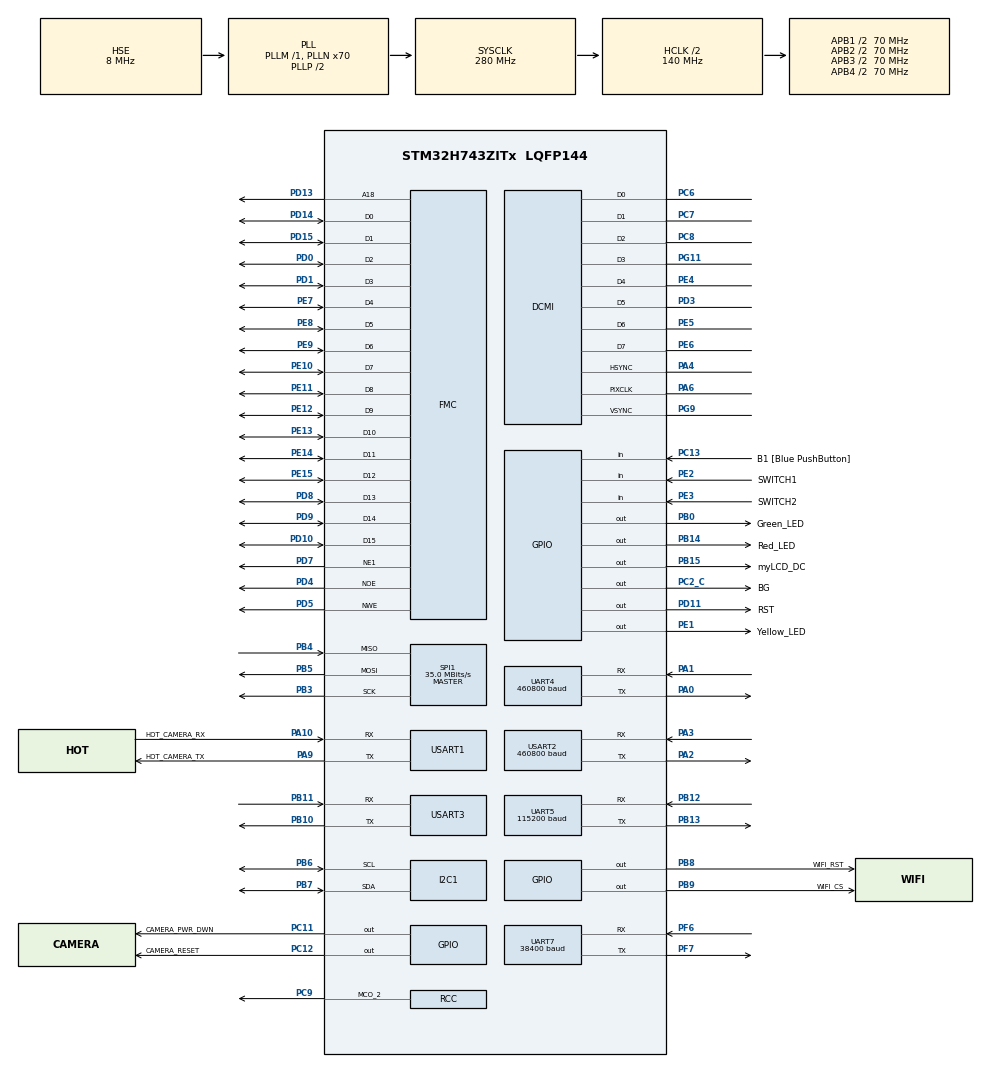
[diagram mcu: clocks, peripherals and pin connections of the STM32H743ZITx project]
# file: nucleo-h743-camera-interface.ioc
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CORTEX_M7.AccessPermission-Cortex_Memory_Protection_Unit_Region0_Settings=MPU_REGION_FULL_ACCESS
CORTEX_M7.BaseAddress-Cortex_Memory_Protection_Unit_Region0_Settings=0x60000000
CORTEX_M7.CPU_DCache=Disabled
CORTEX_M7.CPU_ICache=Enabled
CORTEX_M7.Enable-Cortex_Memory_Protection_Unit_Region0_Settings=MPU_REGION_ENABLE
CORTEX_M7.IsBufferable-Cortex_Memory_Protection_Unit_Region0_Settings=MPU_ACCESS_BUFFERABLE
CORTEX_M7.MPU_Control=MPU_PRIVILEGED_DEFAULT
CORTEX_M7.Size-Cortex_Memory_Protection_Unit_Region0_Settings=MPU_REGION_SIZE_256MB
DCMI.ByteSelectMode=DCMI_BSM_ALL
DCMI.HSPolarity=DCMI_HSPOLARITY_LOW
DCMI.PCKPolarity=DCMI_PCKPOLARITY_RISING
DCMI.VSPolarity=DCMI_VSPOLARITY_HIGH
Dma.DCMI.0.Direction=DMA_PERIPH_TO_MEMORY
Dma.DCMI.0.EventEnable=DISABLE
Dma.DCMI.0.FIFOMode=DMA_FIFOMODE_DISABLE
Dma.DCMI.0.Instance=DMA1_Stream1
Dma.DCMI.0.MemDataAlignment=DMA_MDATAALIGN_WORD
Dma.DCMI.0.MemInc=DMA_MINC_ENABLE
Dma.DCMI.0.Mode=DMA_CIRCULAR
Dma.DCMI.0.PeriphDataAlignment=DMA_PDATAALIGN_WORD
Dma.DCMI.0.PeriphInc=DMA_PINC_DISABLE
Dma.DCMI.0.Polarity=HAL_DMAMUX_REQ_GEN_RISING
Dma.DCMI.0.Priority=DMA_PRIORITY_MEDIUM
Dma.DCMI.0.RequestNumber=1
Dma.DCMI.0.SignalID=NONE
Dma.DCMI.0.SyncEnable=DISABLE
Dma.DCMI.0.SyncPolarity=HAL_DMAMUX_SYNC_NO_EVENT
Dma.DCMI.0.SyncRequestNumber=1
Dma.DCMI.0.SyncSignalID=NONE
Dma.Request0=DCMI
FMC.AddressSetupTime1=9
FMC.DataSetupTime1=12
I2C1.Timing=0xC010151E
Mcu.Family=STM32H7
Mcu.Name=STM32H743ZITx
Mcu.Package=LQFP144
NVIC.DCMI_IRQn=true\:0\:0\:false\:false\:true\:true\:true
NVIC.DMA1_Stream1_IRQn=true\:0\:0\:false\:false\:true\:false\:true
NVIC.PriorityGroup=NVIC_PRIORITYGROUP_4
NVIC.UART4_IRQn=true\:0\:0\:false\:false\:true\:true\:true
NVIC.UART7_IRQn=true\:0\:0\:false\:false\:true\:true\:true
NVIC.USART1_IRQn=true\:0\:0\:false\:false\:true\:true\:true
NVIC.USART2_IRQn=true\:0\:0\:false\:false\:true\:true\:true
PA0.GPIO_Speed=GPIO_SPEED_FREQ_VERY_HIGH
PA0.Mode=Asynchronous
PA0.Signal=UART4_TX
PA1.GPIO_Speed=GPIO_SPEED_FREQ_VERY_HIGH
PA1.Mode=Asynchronous
PA1.Signal=UART4_RX
PA10.GPIO_Label=HOT_CAMERA_RX
PA10.Mode=Asynchronous
PA10.Signal=USART1_RX
PA2.Mode=Asynchronous
PA2.Signal=USART2_TX
PA3.Mode=Asynchronous
PA3.Signal=USART2_RX
PA4.Mode=Slave_8_bits_External_Synchro
PA4.Signal=DCMI_HSYNC
PA6.Mode=Slave_8_bits_External_Synchro
PA6.Signal=DCMI_PIXCLK
PA9.GPIO_Label=HOT_CAMERA_TX
PA9.Mode=Asynchronous
PA9.Signal=USART1_TX
PB0.GPIO_Label=Green_LED
PB0.Signal=GPIO_Output
PB10.Mode=Asynchronous
PB10.Signal=USART3_TX
PB11.Mode=Asynchronous
PB11.Signal=USART3_RX
PB12.Mode=Asynchronous
PB12.Signal=UART5_RX
PB13.Mode=Asynchronous
PB13.Signal=UART5_TX
PB14.GPIO_Label=Red_LED
PB14.Signal=GPIO_Output
PB15.GPIO_Label=myLCD_DC
PB15.Signal=GPIO_Output
PB3\ (JTDO/TRACESWO).Mode=Full_Duplex_Master
PB3\ (JTDO/TRACESWO).Signal=SPI1_SCK
PB4\ (NJTRST).Mode=Full_Duplex_Master
PB4\ (NJTRST).Signal=SPI1_MISO
PB5.Mode=Full_Duplex_Master
PB5.Signal=SPI1_MOSI
PB6.GPIO_PuPd=GPIO_PULLUP
PB6.Mode=I2C
PB6.Signal=I2C1_SCL
PB7.GPIO_PuPd=GPIO_PULLUP
PB7.Mode=I2C
PB7.Signal=I2C1_SDA
PB8.GPIO_Label=WIFI_RST
PB8.GPIO_Speed=GPIO_SPEED_FREQ_VERY_HIGH
PB8.Signal=GPIO_Output
PB9.GPIO_Label=WIFI_CS
PB9.Signal=GPIO_Output
PC11.GPIO_Label=CAMERA_PWR_DWN
PC11.Signal=GPIO_Output
PC12.GPIO_Label=CAMERA_RESET
PC12.PinState=GPIO_PIN_SET
PC12.Signal=GPIO_Output
PC13.GPIO_Label=B1 [Blue PushButton]
PC13.GPIO_PuPd=GPIO_NOPULL
PC13.Signal=GPIO_Input
PC2_C.GPIO_Label=BG
PC2_C.Signal=GPIO_Output
PC6.Mode=Slave_8_bits_External_Synchro
PC6.Signal=DCMI_D0
PC7.Mode=Slave_8_bits_External_Synchro
PC7.Signal=DCMI_D1
PC8.Mode=Slave_8_bits_External_Synchro
PC8.Signal=DCMI_D2
PC9.Mode=Clock-out-2
PC9.Signal=RCC_MCO_2
PD0.Signal=FMC_D2_DA2
PD1.Signal=FMC_D3_DA3
PD10.Signal=FMC_D15_DA15
PD11.GPIO_Label=RST
PD11.Signal=GPIO_Output
PD13.Signal=FMC_A18
PD14.Signal=FMC_D0_DA0
PD15.Signal=FMC_D1_DA1
PD3.Mode=Slave_8_bits_External_Synchro
PD3.Signal=DCMI_D5
PD4.Signal=FMC_NOE
PD5.Signal=FMC_NWE
PD7.Mode=NorPsramChipSelect1_1
PD7.Signal=FMC_NE1
PD8.Signal=FMC_D13_DA13
PD9.Signal=FMC_D14_DA14
PE1.GPIO_Label=Yellow_LED
PE1.Signal=GPIO_Output
PE10.Signal=FMC_D7_DA7
PE11.Signal=FMC_D8_DA8
PE12.Signal=FMC_D9_DA9
PE13.Signal=FMC_D10_DA10
PE14.Signal=FMC_D11_DA11
PE15.Signal=FMC_D12_DA12
PE2.GPIO_Label=SWITCH1
PE2.GPIO_PuPd=GPIO_PULLUP
PE2.Signal=GPIO_Input
PE3.GPIO_Label=SWITCH2
PE3.GPIO_PuPd=GPIO_PULLUP
PE3.Signal=GPIO_Input
PE4.Mode=Slave_8_bits_External_Synchro
PE4.Signal=DCMI_D4
PE5.Mode=Slave_8_bits_External_Synchro
PE5.Signal=DCMI_D6
PE6.Mode=Slave_8_bits_External_Synchro
PE6.Signal=DCMI_D7
PE7.Signal=FMC_D4_DA4
PE8.Signal=FMC_D5_DA5
PE9.Signal=FMC_D6_DA6
PF6.Mode=Asynchronous
PF6.Signal=UART7_RX
PF7.Mode=Asynchronous
PF7.Signal=UART7_TX
PG11.Mode=Slave_8_bits_External_Synchro
PG11.Signal=DCMI_D3
PG9.Mode=Slave_8_bits_External_Synchro
PG9.Signal=DCMI_VSYNC
PH0-OSC_IN\ (PH0).Mode=HSE-External-Clock-Source
PH0-OSC_IN\ (PH0).Signal=RCC_OSC_IN
PH1-OSC_OUT\ (PH1).Signal=RCC_OSC_OUT
ProjectManager.HeapSize=0x200
ProjectManager.StackSize=0x400
ProjectManager.TargetToolchain=STM32CubeIDE
RCC.ADCFreq_Value=50666666.666666664
RCC.APB1Freq_Value=70000000
RCC.APB2Freq_Value=70000000
RCC.APB3Freq_Value=70000000
RCC.APB4Freq_Value=70000000
RCC.CortexFreq_Value=280000000
RCC.D1PPRE=RCC_APB3_DIV2
RCC.D2PPRE1=RCC_APB1_DIV2
RCC.D2PPRE2=RCC_APB2_DIV2
RCC.D3PPRE=RCC_APB4_DIV2
RCC.DIVM1=1
RCC.DIVM2=1
RCC.DIVN1=70
RCC.DIVN2=19
RCC.DIVP2=3
RCC.HCLKFreq_Value=140000000
RCC.HPRE=RCC_HCLK_DIV2
RCC.HSE_VALUE=8000000
RCC.PLL2FRACN=0
RCC.PLL3FRACN=0
RCC.PLLFRACN=0
RCC.PLLSourceVirtual=RCC_PLLSOURCE_HSE
RCC.RCC_MCODiv2=RCC_MCODIV_8
RCC.SYSCLKFreq_VALUE=280000000
RCC.SYSCLKSource=RCC_SYSCLKSOURCE_PLLCLK
RCC.USBFreq_Value=280000000
SH.FMC_A18.0=FMC_A18,A18_1
SH.FMC_D0_DA0.0=FMC_D0,16b-d1
SH.FMC_D10_DA10.0=FMC_D10,16b-d1
SH.FMC_D11_DA11.0=FMC_D11,16b-d1
SH.FMC_D12_DA12.0=FMC_D12,16b-d1
SH.FMC_D13_DA13.0=FMC_D13,16b-d1
SH.FMC_D14_DA14.0=FMC_D14,16b-d1
SH.FMC_D15_DA15.0=FMC_D15,16b-d1
SH.FMC_D1_DA1.0=FMC_D1,16b-d1
SH.FMC_D2_DA2.0=FMC_D2,16b-d1
SH.FMC_D3_DA3.0=FMC_D3,16b-d1
SH.FMC_D4_DA4.0=FMC_D4,16b-d1
SH.FMC_D5_DA5.0=FMC_D5,16b-d1
SH.FMC_D6_DA6.0=FMC_D6,16b-d1
SH.FMC_D7_DA7.0=FMC_D7,16b-d1
SH.FMC_D8_DA8.0=FMC_D8,16b-d1
SH.FMC_D9_DA9.0=FMC_D9,16b-d1
SH.FMC_NOE.0=FMC_NOE,Lcd1
SH.FMC_NWE.0=FMC_NWE,Lcd1
SPI1.BaudRatePrescaler=SPI_BAUDRATEPRESCALER_8
SPI1.CalculateBaudRate=35.0 MBits/s
SPI1.DataSize=SPI_DATASIZE_8BIT
SPI1.Direction=SPI_DIRECTION_2LINES
SPI1.Mode=SPI_MODE_MASTER
SPI1.VirtualType=VM_MASTER
TIM2.Period=1
TIM2.Prescaler=20
UART4.BaudRate=460800
UART5.BaudRate=115200
UART7.BaudRate=38400
USART1.VirtualMode-Asynchronous=VM_ASYNC
USART2.BaudRate=460800
USART2.VirtualMode-Asynchronous=VM_ASYNC
USART3.VirtualMode-Asynchronous=VM_ASYNC
VP_TIM2_VS_ClockSourceINT.Mode=Internal
board=NUCLEO-H743ZI2

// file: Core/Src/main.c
/* USER CODE BEGIN Header */
/**
  ******************************************************************************
  * @file           : main.c
  * @brief          : Main program body
  ******************************************************************************
  * @attention
  *
  * Author: Enrique Phan
  * Date :	2020/09/20
  * Github: PHANzgz
  *
  ******************************************************************************
  */
/* USER CODE END Header */
#include "main.h"

/* USER CODE BEGIN Includes */
#include <stdio.h>
#include <string.h>
#include <stdlib.h>
#include <math.h>
#include "../../Drivers/OV7670/OV7670.h"
#include "LCD.h"
#include "fonts.h"
#include "hot_camera.h"
#include "GPS.h"
#include <time.h>
/* USER CODE END Includes */

/* USER CODE BEGIN PD */
#define USE_GRAYSCALE 1
#define RX_BUF_MAXLEN 1000

/* USER CODE END PD */

DCMI_HandleTypeDef hdcmi;
DMA_HandleTypeDef hdma_dcmi;

I2C_HandleTypeDef hi2c1;

SPI_HandleTypeDef hspi1;

TIM_HandleTypeDef htim2;

UART_HandleTypeDef huart4;
UART_HandleTypeDef huart5;
UART_HandleTypeDef huart7;
UART_HandleTypeDef huart1;
UART_HandleTypeDef huart2;
UART_HandleTypeDef huart3;

SRAM_HandleTypeDef hsram1;

/* USER CODE BEGIN PV */
#if USE_GRAYSCALE
uint32_t frame_buffer[OV7670_QVGA_WIDTH * OV7670_QVGA_HEIGHT/2];
#else
uint32_t frame_buffer[OV7670_QVGA_WIDTH * OV7670_QVGA_HEIGHT/2];
#endif
uint8_t new_capture = 0;

uint8_t hot_buffer[7];	//中断缓冲
uint8_t T[8]; //温度
uint8_t wifi_rec[1];
uint8_t tem[8];
uint8_t count_send_gps_time=0;

int total_people=0;

uint8_t rdata[1];
uint8_t rdata1[1];
uint16_t point=0;
uint16_t hot_point=0;
uint8_t ifOneline=false;
uint8_t USART_RX_BUF[RX_BUF_MAXLEN];
GPS_Data GPSData;
int num=0;
//默认地址
uint8_t latitude[latitude_Length]="3888.8519";
uint8_t longitude[longitude_Length]="12153.6728";

/* USER CODE END PV */

void SystemClock_Config(void);
static void MPU_Config(void);
static void MX_GPIO_Init(void);
static void MX_DMA_Init(void);
static void MX_DCMI_Init(void);
static void MX_TIM2_Init(void);
static void MX_I2C1_Init(void);
static void MX_SPI1_Init(void);
static void MX_FMC_Init(void);
static void MX_USART1_UART_Init(void);
static void MX_UART4_Init(void);
static void MX_UART5_Init(void);
static void MX_UART7_Init(void);
static void MX_USART3_UART_Init(void);
static void MX_USART2_UART_Init(void);
/* USER CODE BEGIN PFP */
static void onFrameCallback();
//void get_t();
/* USER CODE END PFP */

int main(void)
{
  /* USER CODE BEGIN 1 */
	tem[0]=0xEE;
	tem[1]=0xE1;
	tem[2]=0x01;
	tem[3]=0x55;
	tem[4]=0xFF;
	tem[5]=0xFC;
	tem[6]=0xFD;
	tem[7]=0xFF;
  /* USER CODE END 1 */

  /* MPU Configuration--------------------------------------------------------*/
  MPU_Config();

  /* Enable I-Cache---------------------------------------------------------*/
  SCB_EnableICache();

  /* MCU Configuration--------------------------------------------------------*/

  /* Reset of all peripherals, Initializes the Flash interface and the Systick. */
  HAL_Init();

  /* Configure the system clock */
  SystemClock_Config();

  /* Initialize all configured peripherals */
  MX_GPIO_Init();
  MX_DMA_Init();
  MX_DCMI_Init();
  MX_TIM2_Init();
  MX_I2C1_Init();
  MX_SPI1_Init();
  MX_FMC_Init();
  MX_USART1_UART_Init();
  MX_UART4_Init();
  MX_UART5_Init();
  MX_UART7_Init();
  MX_USART3_UART_Init();
  MX_USART2_UART_Init();
  /* USER CODE BEGIN 2 */
  HAL_UART_Init(&huart4);
  HAL_UART_Init(&huart1);
  HAL_UART_Init(&huart7);
  HAL_UART_Init(&huart2);
  HAL_GPIO_WritePin(CAMERA_PWR_DWN_GPIO_Port, CAMERA_PWR_DWN_Pin, GPIO_PIN_RESET); // Turn on camera
  ov7670_init(&hdcmi, &hdma_dcmi, &hi2c1);

#if USE_GRAYSCALE
  ov7670_config(OV7670_MODE_QVGA_YUV);
#else
  ov7670_config(OV7670_MODE_QVGA_RGB565);
#endif
  ov7670_registerCallback(NULL, NULL, &onFrameCallback);
  lcd_init();
  ILI9341_GramScan(3);
  ILI9341_Clear(0, 0, 320,240 , WHITE);
  ILI9341_DispStringLine_EN(LINE(120),"        Bus system based on stm32");
  HAL_Delay(1000);
  LCD_ClearLine(LINE(0));
  HAL_UART_Receive_IT(&huart7, rdata, 1);
  HAL_UART_Receive_IT(&huart2, wifi_rec, 1);
  HAL_UART_Receive_IT(&huart1, hot_buffer, 7);
  /* USER CODE END 2 */

  /* Infinite loop */
  /* USER CODE BEGIN WHILE */
  while (1)
  {

//	HAL_UART_Transmit(&huart1, &tem, 8, 100);
//	HAL_UART_Receive_IT(&huart1, hot_buffer, 1);
	  int a=1;
	  //lcd_auto_clear(500);
#if USE_GRAYSCALE
	  // DCMI setting "Byte select" must be "capture every other byte to ignore Cb or Cr data"
	  // DCMI setting "Byte select start" must be "Interface captures second data"
	  if (new_capture){
		  LCD_ImgShow_gray((unsigned char*) frame_buffer);
		  if (HAL_GPIO_ReadPin(SWITCH2_GPIO_Port, SWITCH2_Pin)==0){
			  total_people++;
			  HAL_Delay(1000);
			  char mark[5]="IMG$";
			  char mark2[10]="$IMGEND";
			  HAL_UART_Init(&huart4);
			  HAL_UART_Transmit(&huart4, &mark,5, 100);
			  uint32_t tem_data[OV7670_QVGA_WIDTH * OV7670_QVGA_HEIGHT/2];
			  for(int i=0;i<OV7670_QVGA_WIDTH * OV7670_QVGA_HEIGHT/2;i++){
				  tem_data[i]=frame_buffer[i];
			  }
			  grey_transmit((uint8_t*)tem_data);
			  HAL_Delay(1000);
			  HAL_UART_Transmit(&huart4, &mark2, 10, 1000);
			  uint8_t *rec=(char*)malloc(sizeof(char));
//			  while(HAL_UART_Receive(&huart2, rec, 1,100)!=HAL_OK);
//			  HAL_UART_Transmit(&huart4, rec, 1,100);
			  char name[5];
			  int find=1;
			  if(wifi_rec[0]=='1')
				  strcpy(name,"mym");
			  else if(wifi_rec[0]=='2')
				  strcpy(name,"dxc");
			  else if(wifi_rec[0]=='3')
				  strcpy(name,"zjj");
			  else
				  find=0;
			  free(rec);
			  if(find){
				  char showline[100]="             Welcome ";
				  strcat(showline,name);
				  ILI9341_Clear(0, 200, 320,240 , WHITE);
				  ILI9341_DispStringLine_EN(LINE(13),showline);
	//				  hot_camera_init(huart1);
	//				  HAL_UART_Receive_IT(&huart1, hot_buffer, 10);
	//				  HAL_Delay(1000);
	//				  HAL_UART_Transmit(&huart4, hot_data, 2055, 1000);
	//				  float high=hot_camer_get_temperature(hot_data);
//				  get_t();
				  char str[50]="           Your temperature is ";
				  strcat(str,T);
				  //HAL_UART_Transmit(&huart4, str, 50, 100);
				  ILI9341_DispStringLine_EN(LINE(14),str);
			  }else{
				  char showline[50]="             Recognize failed ";
				  ILI9341_Clear(0, 200, 320,240 , WHITE);
				  ILI9341_DispStringLine_EN(LINE(13),showline);
			  }
			  HAL_Delay(1000);
		  }
		  else if(HAL_GPIO_ReadPin(SWITCH1_GPIO_Port, SWITCH1_Pin)==0){
			if(total_people>0)
			  total_people--;
			HAL_Delay(2000);
		  }
	  }
#else
	  if (new_capture)

		  if(HAL_GPIO_ReadPin(B1_GPIO_Port, B1_Pin) == 0){
			  LCD_ImgShow((uint8_t*)frame_buffer);
			  if (HAL_GPIO_ReadPin(SWITCH2_GPIO_Port, SWITCH2_Pin)==0){
				  total_people++;
				  char mark[5]="IMG$";
				  char mark2[10]="$IMGEND";
				  HAL_UART_Init(&huart4);
				  HAL_UART_Transmit(&huart4, &mark,5, 100);
				  for(int i=0;i<OV7670_QVGA_WIDTH * OV7670_QVGA_HEIGHT/2;i++){
					HAL_UART_Transmit(&huart4, &frame_buffer[i],4, 10000);
					for(int i=0;i<30000;i++);
				  }
					HAL_Delay(1000);
				  HAL_UART_Transmit(&huart4, &mark2, 10, 1000);
				  ILI9341_Clear(0, 200, 320,240 , WHITE);
				  ILI9341_DispStringLine_EN(LINE(13),"              xxx Welcome");
//				  hot_camera_init(huart1);
//				  HAL_UART_Receive_IT(&huart1, hot_buffer, 10);
//				  HAL_Delay(1000);
//				  HAL_UART_Transmit(&huart4, hot_data, 2055, 1000);
//				  float high=hot_camer_get_temperature(hot_data);
				  char str_t[10];
 				  int high=get_t();
				  itoa(high,str_t,10);
				  char tem_c=str_t[2];
				  str_t[2]='.';
				  str_t[3]=tem_c;
				  str_t[4]='\0';
				  char str[50]="           Your temperature is ";
                  strcat(str,str_t);
				  //HAL_UART_Transmit(&huart4, str, 50, 100);
				  ILI9341_DispStringLine_EN(LINE(14),str);
				  HAL_Delay(1000);
			  }
			  else if(HAL_GPIO_ReadPin(SWITCH1_GPIO_Port, SWITCH1_Pin)==0){
				if(total_people>=0)
				  total_people--;
			  }
		  }
		  else
			  LCD_ImgShow_hot(hot_data);

#endif

	  if (HAL_GPIO_ReadPin(B1_GPIO_Port, B1_Pin) == 0){
		  //ov7670_startCap(OV7670_CAP_SINGLE_FRAME, (uint32_t)frame_buffer);
		  ov7670_startCap(OV7670_CAP_CONTINUOUS, (uint32_t)frame_buffer);
	  }
    /* USER CODE END WHILE */

    /* USER CODE BEGIN 3 */
	  uint8_t start[10]="START\n";
	  uint8_t end[10]="END\n";
	  //HAL_UART_Transmit(&huart4, start, 10, 100);
	  if(ifOneline){
		  //HAL_UART_Transmit(&huart4, &USART_RX_BUF,strlen(USART_RX_BUF),1000);
			  strcpy(GPSData.GPS_Buffer,USART_RX_BUF);
			  if(strstr(USART_RX_BUF,"GNRMC")!=NULL){
				  //HAL_UART_Transmit(&huart4, end, 10,1000);
				  transfer(USART_RX_BUF);
				  if(GPSData.isUseful){
					  HAL_GPIO_WritePin(Green_LED_GPIO_Port,Green_LED_Pin, 0);
					  if(HAL_GPIO_ReadPin(Yellow_LED_GPIO_Port, Yellow_LED_Pin)==0)
						  HAL_GPIO_WritePin(Yellow_LED_GPIO_Port, Yellow_LED_Pin,1);
				  }else{
					  HAL_GPIO_WritePin(Yellow_LED_GPIO_Port, Yellow_LED_Pin, 0);
					  if(HAL_GPIO_ReadPin(Green_LED_GPIO_Port,Green_LED_Pin)==0)
						  HAL_GPIO_WritePin(Green_LED_GPIO_Port,Green_LED_Pin,1);
				  }
				  if(num<0)
					  num=0;
				  uint8_t message[messageLength],tem[3];
				  if(num<=9){
					  tem[0]=(num+48);
					  tem[1]='\0';
				  }
				  else{
					  tem[0]=(num/10+48);
					  tem[1]=(num-num/10*10+48);
				  }
				  HAL_Delay(2);
				 // HAL_UART_Transmit(&huart4, GPSData.GPS_Buffer, sizeof(GPSData.GPS_Buffer), 100);
				  HAL_Delay(2);
				  memcpy(message,GPSData.address,sizeof(GPSData.address));
				  strcat(message,",");
				  char people_num[3];
				  itoa(total_people,people_num,10);
				  strcat(message,people_num);
				  strcat(message,",");
				  char gps_end[8]="$GPSEND";
				  strcat(message,gps_end);
				  HAL_Delay(1);
				  if(count_send_gps_time++==10){
					  HAL_UART_Transmit(&huart4, message, sizeof(message), 100);
					  count_send_gps_time=0;
				  }
				  HAL_Delay(1);
			  }
			  ifOneline=0;
			  memset(USART_RX_BUF,0,sizeof(USART_RX_BUF));
		  }
		}
  /* USER CODE END 3 */
}

void SystemClock_Config(void)
{
  RCC_OscInitTypeDef RCC_OscInitStruct = {0};
  RCC_ClkInitTypeDef RCC_ClkInitStruct = {0};
  RCC_PeriphCLKInitTypeDef PeriphClkInitStruct = {0};

  /** Supply configuration update enable
  */
  HAL_PWREx_ConfigSupply(PWR_LDO_SUPPLY);
  /** Configure the main internal regulator output voltage
  */
  __HAL_PWR_VOLTAGESCALING_CONFIG(PWR_REGULATOR_VOLTAGE_SCALE2);

  while(!__HAL_PWR_GET_FLAG(PWR_FLAG_VOSRDY)) {}
  /** Initializes the RCC Oscillators according to the specified parameters
  * in the RCC_OscInitTypeDef structure.
  */
  RCC_OscInitStruct.OscillatorType = RCC_OSCILLATORTYPE_HSE;
  RCC_OscInitStruct.HSEState = RCC_HSE_BYPASS;
  RCC_OscInitStruct.PLL.PLLState = RCC_PLL_ON;
  RCC_OscInitStruct.PLL.PLLSource = RCC_PLLSOURCE_HSE;
  RCC_OscInitStruct.PLL.PLLM = 1;
  RCC_OscInitStruct.PLL.PLLN = 70;
  RCC_OscInitStruct.PLL.PLLP = 2;
  RCC_OscInitStruct.PLL.PLLQ = 2;
  RCC_OscInitStruct.PLL.PLLR = 2;
  RCC_OscInitStruct.PLL.PLLRGE = RCC_PLL1VCIRANGE_3;
  RCC_OscInitStruct.PLL.PLLVCOSEL = RCC_PLL1VCOWIDE;
  RCC_OscInitStruct.PLL.PLLFRACN = 0;
  if (HAL_RCC_OscConfig(&RCC_OscInitStruct) != HAL_OK)
  {
    Error_Handler();
  }
  /** Initializes the CPU, AHB and APB buses clocks
  */
  RCC_ClkInitStruct.ClockType = RCC_CLOCKTYPE_HCLK|RCC_CLOCKTYPE_SYSCLK
                              |RCC_CLOCKTYPE_PCLK1|RCC_CLOCKTYPE_PCLK2
                              |RCC_CLOCKTYPE_D3PCLK1|RCC_CLOCKTYPE_D1PCLK1;
  RCC_ClkInitStruct.SYSCLKSource = RCC_SYSCLKSOURCE_PLLCLK;
  RCC_ClkInitStruct.SYSCLKDivider = RCC_SYSCLK_DIV1;
  RCC_ClkInitStruct.AHBCLKDivider = RCC_HCLK_DIV2;
  RCC_ClkInitStruct.APB3CLKDivider = RCC_APB3_DIV2;
  RCC_ClkInitStruct.APB1CLKDivider = RCC_APB1_DIV2;
  RCC_ClkInitStruct.APB2CLKDivider = RCC_APB2_DIV2;
  RCC_ClkInitStruct.APB4CLKDivider = RCC_APB4_DIV2;

  if (HAL_RCC_ClockConfig(&RCC_ClkInitStruct, FLASH_LATENCY_1) != HAL_OK)
  {
    Error_Handler();
  }
  PeriphClkInitStruct.PeriphClockSelection = RCC_PERIPHCLK_USART3|RCC_PERIPHCLK_USART2
                              |RCC_PERIPHCLK_UART4|RCC_PERIPHCLK_UART7
                              |RCC_PERIPHCLK_USART1|RCC_PERIPHCLK_UART5
                              |RCC_PERIPHCLK_SPI1|RCC_PERIPHCLK_I2C1
                              |RCC_PERIPHCLK_FMC;
  PeriphClkInitStruct.FmcClockSelection = RCC_FMCCLKSOURCE_D1HCLK;
  PeriphClkInitStruct.Spi123ClockSelection = RCC_SPI123CLKSOURCE_PLL;
  PeriphClkInitStruct.Usart234578ClockSelection = RCC_USART234578CLKSOURCE_D2PCLK1;
  PeriphClkInitStruct.Usart16ClockSelection = RCC_USART16CLKSOURCE_D2PCLK2;
  PeriphClkInitStruct.I2c123ClockSelection = RCC_I2C123CLKSOURCE_D2PCLK1;
  if (HAL_RCCEx_PeriphCLKConfig(&PeriphClkInitStruct) != HAL_OK)
  {
    Error_Handler();
  }
  HAL_RCC_MCOConfig(RCC_MCO2, RCC_MCO2SOURCE_SYSCLK, RCC_MCODIV_8);
}

static void MX_DCMI_Init(void)
{

  hdcmi.Instance = DCMI;
  hdcmi.Init.SynchroMode = DCMI_SYNCHRO_HARDWARE;
  hdcmi.Init.PCKPolarity = DCMI_PCKPOLARITY_RISING;
  hdcmi.Init.VSPolarity = DCMI_VSPOLARITY_HIGH;
  hdcmi.Init.HSPolarity = DCMI_HSPOLARITY_LOW;
  hdcmi.Init.CaptureRate = DCMI_CR_ALL_FRAME;
  hdcmi.Init.ExtendedDataMode = DCMI_EXTEND_DATA_8B;
  hdcmi.Init.JPEGMode = DCMI_JPEG_DISABLE;
  hdcmi.Init.ByteSelectMode = DCMI_BSM_ALL;
  hdcmi.Init.ByteSelectStart = DCMI_OEBS_ODD;
  hdcmi.Init.LineSelectMode = DCMI_LSM_ALL;
  hdcmi.Init.LineSelectStart = DCMI_OELS_ODD;
  if (HAL_DCMI_Init(&hdcmi) != HAL_OK)
  {
    Error_Handler();
  }

}

static void MX_I2C1_Init(void)
{

  hi2c1.Instance = I2C1;
  hi2c1.Init.Timing = 0xC010151E;
  hi2c1.Init.OwnAddress1 = 0;
  hi2c1.Init.AddressingMode = I2C_ADDRESSINGMODE_7BIT;
  hi2c1.Init.DualAddressMode = I2C_DUALADDRESS_DISABLE;
  hi2c1.Init.OwnAddress2 = 0;
  hi2c1.Init.OwnAddress2Masks = I2C_OA2_NOMASK;
  hi2c1.Init.GeneralCallMode = I2C_GENERALCALL_DISABLE;
  hi2c1.Init.NoStretchMode = I2C_NOSTRETCH_DISABLE;
  if (HAL_I2C_Init(&hi2c1) != HAL_OK)
  {
    Error_Handler();
  }
  /** Configure Analogue filter
  */
  if (HAL_I2CEx_ConfigAnalogFilter(&hi2c1, I2C_ANALOGFILTER_ENABLE) != HAL_OK)
  {
    Error_Handler();
  }
  /** Configure Digital filter
  */
  if (HAL_I2CEx_ConfigDigitalFilter(&hi2c1, 0) != HAL_OK)
  {
    Error_Handler();
  }

}

static void MX_SPI1_Init(void)
{

  /* SPI1 parameter configuration*/
  hspi1.Instance = SPI1;
  hspi1.Init.Mode = SPI_MODE_MASTER;
  hspi1.Init.Direction = SPI_DIRECTION_2LINES;
  hspi1.Init.DataSize = SPI_DATASIZE_8BIT;
  hspi1.Init.CLKPolarity = SPI_POLARITY_LOW;
  hspi1.Init.CLKPhase = SPI_PHASE_1EDGE;
  hspi1.Init.NSS = SPI_NSS_SOFT;
  hspi1.Init.BaudRatePrescaler = SPI_BAUDRATEPRESCALER_8;
  hspi1.Init.FirstBit = SPI_FIRSTBIT_MSB;
  hspi1.Init.TIMode = SPI_TIMODE_DISABLE;
  hspi1.Init.CRCCalculation = SPI_CRCCALCULATION_DISABLE;
  hspi1.Init.CRCPolynomial = 0x0;
  hspi1.Init.NSSPMode = SPI_NSS_PULSE_ENABLE;
  hspi1.Init.NSSPolarity = SPI_NSS_POLARITY_LOW;
  hspi1.Init.FifoThreshold = SPI_FIFO_THRESHOLD_01DATA;
  hspi1.Init.TxCRCInitializationPattern = SPI_CRC_INITIALIZATION_ALL_ZERO_PATTERN;
  hspi1.Init.RxCRCInitializationPattern = SPI_CRC_INITIALIZATION_ALL_ZERO_PATTERN;
  hspi1.Init.MasterSSIdleness = SPI_MASTER_SS_IDLENESS_00CYCLE;
  hspi1.Init.MasterInterDataIdleness = SPI_MASTER_INTERDATA_IDLENESS_00CYCLE;
  hspi1.Init.MasterReceiverAutoSusp = SPI_MASTER_RX_AUTOSUSP_DISABLE;
  hspi1.Init.MasterKeepIOState = SPI_MASTER_KEEP_IO_STATE_DISABLE;
  hspi1.Init.IOSwap = SPI_IO_SWAP_DISABLE;
  if (HAL_SPI_Init(&hspi1) != HAL_OK)
  {
    Error_Handler();
  }

}

static void MX_TIM2_Init(void)
{

  TIM_ClockConfigTypeDef sClockSourceConfig = {0};
  TIM_MasterConfigTypeDef sMasterConfig = {0};

  htim2.Instance = TIM2;
  htim2.Init.Prescaler = 20;
  htim2.Init.CounterMode = TIM_COUNTERMODE_UP;
  htim2.Init.Period = 1;
  htim2.Init.ClockDivision = TIM_CLOCKDIVISION_DIV1;
  htim2.Init.AutoReloadPreload = TIM_AUTORELOAD_PRELOAD_DISABLE;
  if (HAL_TIM_Base_Init(&htim2) != HAL_OK)
  {
    Error_Handler();
  }
  sClockSourceConfig.ClockSource = TIM_CLOCKSOURCE_INTERNAL;
  if (HAL_TIM_ConfigClockSource(&htim2, &sClockSourceConfig) != HAL_OK)
  {
    Error_Handler();
  }
  sMasterConfig.MasterOutputTrigger = TIM_TRGO_RESET;
  sMasterConfig.MasterSlaveMode = TIM_MASTERSLAVEMODE_DISABLE;
  if (HAL_TIMEx_MasterConfigSynchronization(&htim2, &sMasterConfig) != HAL_OK)
  {
    Error_Handler();
  }

}

static void MX_UART4_Init(void)
{

  huart4.Instance = UART4;
  huart4.Init.BaudRate = 460800;
  huart4.Init.WordLength = UART_WORDLENGTH_8B;
  huart4.Init.StopBits = UART_STOPBITS_1;
  huart4.Init.Parity = UART_PARITY_NONE;
  huart4.Init.Mode = UART_MODE_TX_RX;
  huart4.Init.HwFlowCtl = UART_HWCONTROL_NONE;
  huart4.Init.OverSampling = UART_OVERSAMPLING_16;
  huart4.Init.OneBitSampling = UART_ONE_BIT_SAMPLE_DISABLE;
  huart4.Init.ClockPrescaler = UART_PRESCALER_DIV1;
  huart4.AdvancedInit.AdvFeatureInit = UART_ADVFEATURE_NO_INIT;
  if (HAL_UART_Init(&huart4) != HAL_OK)
  {
    Error_Handler();
  }
  if (HAL_UARTEx_SetTxFifoThreshold(&huart4, UART_TXFIFO_THRESHOLD_1_8) != HAL_OK)
  {
    Error_Handler();
  }
  if (HAL_UARTEx_SetRxFifoThreshold(&huart4, UART_RXFIFO_THRESHOLD_1_8) != HAL_OK)
  {
    Error_Handler();
  }
  if (HAL_UARTEx_DisableFifoMode(&huart4) != HAL_OK)
  {
    Error_Handler();
  }

}

static void MX_UART5_Init(void)
{

  huart5.Instance = UART5;
  huart5.Init.BaudRate = 115200;
  huart5.Init.WordLength = UART_WORDLENGTH_8B;
  huart5.Init.StopBits = UART_STOPBITS_1;
  huart5.Init.Parity = UART_PARITY_NONE;
  huart5.Init.Mode = UART_MODE_TX_RX;
  huart5.Init.HwFlowCtl = UART_HWCONTROL_NONE;
  huart5.Init.OverSampling = UART_OVERSAMPLING_16;
  huart5.Init.OneBitSampling = UART_ONE_BIT_SAMPLE_DISABLE;
  huart5.Init.ClockPrescaler = UART_PRESCALER_DIV1;
  huart5.AdvancedInit.AdvFeatureInit = UART_ADVFEATURE_NO_INIT;
  if (HAL_UART_Init(&huart5) != HAL_OK)
  {
    Error_Handler();
  }
  if (HAL_UARTEx_SetTxFifoThreshold(&huart5, UART_TXFIFO_THRESHOLD_1_8) != HAL_OK)
  {
    Error_Handler();
  }
  if (HAL_UARTEx_SetRxFifoThreshold(&huart5, UART_RXFIFO_THRESHOLD_1_8) != HAL_OK)
  {
    Error_Handler();
  }
  if (HAL_UARTEx_DisableFifoMode(&huart5) != HAL_OK)
  {
    Error_Handler();
  }

}

static void MX_UART7_Init(void)
{

  huart7.Instance = UART7;
  huart7.Init.BaudRate = 38400;
  huart7.Init.WordLength = UART_WORDLENGTH_8B;
  huart7.Init.StopBits = UART_STOPBITS_1;
  huart7.Init.Parity = UART_PARITY_NONE;
  huart7.Init.Mode = UART_MODE_TX_RX;
  huart7.Init.HwFlowCtl = UART_HWCONTROL_NONE;
  huart7.Init.OverSampling = UART_OVERSAMPLING_16;
  huart7.Init.OneBitSampling = UART_ONE_BIT_SAMPLE_DISABLE;
  huart7.Init.ClockPrescaler = UART_PRESCALER_DIV1;
  huart7.AdvancedInit.AdvFeatureInit = UART_ADVFEATURE_NO_INIT;
  if (HAL_UART_Init(&huart7) != HAL_OK)
  {
    Error_Handler();
  }
  if (HAL_UARTEx_SetTxFifoThreshold(&huart7, UART_TXFIFO_THRESHOLD_1_8) != HAL_OK)
  {
    Error_Handler();
  }
  if (HAL_UARTEx_SetRxFifoThreshold(&huart7, UART_RXFIFO_THRESHOLD_1_8) != HAL_OK)
  {
    Error_Handler();
  }
  if (HAL_UARTEx_DisableFifoMode(&huart7) != HAL_OK)
  {
    Error_Handler();
  }

}

static void MX_USART1_UART_Init(void)
{

  huart1.Instance = USART1;
  huart1.Init.BaudRate = 115200;
  huart1.Init.WordLength = UART_WORDLENGTH_8B;
  huart1.Init.StopBits = UART_STOPBITS_1;
  huart1.Init.Parity = UART_PARITY_NONE;
  huart1.Init.Mode = UART_MODE_TX_RX;
  huart1.Init.HwFlowCtl = UART_HWCONTROL_NONE;
  huart1.Init.OverSampling = UART_OVERSAMPLING_16;
  huart1.Init.OneBitSampling = UART_ONE_BIT_SAMPLE_DISABLE;
  huart1.Init.ClockPrescaler = UART_PRESCALER_DIV1;
  huart1.AdvancedInit.AdvFeatureInit = UART_ADVFEATURE_NO_INIT;
  if (HAL_UART_Init(&huart1) != HAL_OK)
  {
    Error_Handler();
  }
  if (HAL_UARTEx_SetTxFifoThreshold(&huart1, UART_TXFIFO_THRESHOLD_1_8) != HAL_OK)
  {
    Error_Handler();
  }
  if (HAL_UARTEx_SetRxFifoThreshold(&huart1, UART_RXFIFO_THRESHOLD_1_8) != HAL_OK)
  {
    Error_Handler();
  }
  if (HAL_UARTEx_DisableFifoMode(&huart1) != HAL_OK)
  {
    Error_Handler();
  }

}

static void MX_USART2_UART_Init(void)
{

  huart2.Instance = USART2;
  huart2.Init.BaudRate = 460800;
  huart2.Init.WordLength = UART_WORDLENGTH_8B;
  huart2.Init.StopBits = UART_STOPBITS_1;
  huart2.Init.Parity = UART_PARITY_NONE;
  huart2.Init.Mode = UART_MODE_TX_RX;
  huart2.Init.HwFlowCtl = UART_HWCONTROL_NONE;
  huart2.Init.OverSampling = UART_OVERSAMPLING_16;
  huart2.Init.OneBitSampling = UART_ONE_BIT_SAMPLE_DISABLE;
  huart2.Init.ClockPrescaler = UART_PRESCALER_DIV1;
  huart2.AdvancedInit.AdvFeatureInit = UART_ADVFEATURE_NO_INIT;
  if (HAL_UART_Init(&huart2) != HAL_OK)
  {
    Error_Handler();
  }
  if (HAL_UARTEx_SetTxFifoThreshold(&huart2, UART_TXFIFO_THRESHOLD_1_8) != HAL_OK)
  {
    Error_Handler();
  }
  if (HAL_UARTEx_SetRxFifoThreshold(&huart2, UART_RXFIFO_THRESHOLD_1_8) != HAL_OK)
  {
    Error_Handler();
  }
  if (HAL_UARTEx_DisableFifoMode(&huart2) != HAL_OK)
  {
    Error_Handler();
  }

}

static void MX_USART3_UART_Init(void)
{

  huart3.Instance = USART3;
  huart3.Init.BaudRate = 115200;
  huart3.Init.WordLength = UART_WORDLENGTH_8B;
  huart3.Init.StopBits = UART_STOPBITS_1;
  huart3.Init.Parity = UART_PARITY_NONE;
  huart3.Init.Mode = UART_MODE_TX_RX;
  huart3.Init.HwFlowCtl = UART_HWCONTROL_NONE;
  huart3.Init.OverSampling = UART_OVERSAMPLING_16;
  huart3.Init.OneBitSampling = UART_ONE_BIT_SAMPLE_DISABLE;
  huart3.Init.ClockPrescaler = UART_PRESCALER_DIV1;
  huart3.AdvancedInit.AdvFeatureInit = UART_ADVFEATURE_NO_INIT;
  if (HAL_UART_Init(&huart3) != HAL_OK)
  {
    Error_Handler();
  }
  if (HAL_UARTEx_SetTxFifoThreshold(&huart3, UART_TXFIFO_THRESHOLD_1_8) != HAL_OK)
  {
    Error_Handler();
  }
  if (HAL_UARTEx_SetRxFifoThreshold(&huart3, UART_RXFIFO_THRESHOLD_1_8) != HAL_OK)
  {
    Error_Handler();
  }
  if (HAL_UARTEx_DisableFifoMode(&huart3) != HAL_OK)
  {
    Error_Handler();
  }

}

static void MX_DMA_Init(void)
{

  /* DMA controller clock enable */
  __HAL_RCC_DMA1_CLK_ENABLE();

  /* DMA interrupt init */
  /* DMA1_Stream1_IRQn interrupt configuration */
  HAL_NVIC_SetPriority(DMA1_Stream1_IRQn, 0, 0);
  HAL_NVIC_EnableIRQ(DMA1_Stream1_IRQn);

}

/* FMC initialization function */
static void MX_FMC_Init(void)
{

  FMC_NORSRAM_TimingTypeDef Timing = {0};

  /** Perform the SRAM1 memory initialization sequence
  */
  hsram1.Instance = FMC_NORSRAM_DEVICE;
  hsram1.Extended = FMC_NORSRAM_EXTENDED_DEVICE;
  /* hsram1.Init */
  hsram1.Init.NSBank = FMC_NORSRAM_BANK1;
  hsram1.Init.DataAddressMux = FMC_DATA_ADDRESS_MUX_DISABLE;
  hsram1.Init.MemoryType = FMC_MEMORY_TYPE_SRAM;
  hsram1.Init.MemoryDataWidth = FMC_NORSRAM_MEM_BUS_WIDTH_16;
  hsram1.Init.BurstAccessMode = FMC_BURST_ACCESS_MODE_DISABLE;
  hsram1.Init.WaitSignalPolarity = FMC_WAIT_SIGNAL_POLARITY_LOW;
  hsram1.Init.WaitSignalActive = FMC_WAIT_TIMING_BEFORE_WS;
  hsram1.Init.WriteOperation = FMC_WRITE_OPERATION_ENABLE;
  hsram1.Init.WaitSignal = FMC_WAIT_SIGNAL_DISABLE;
  hsram1.Init.ExtendedMode = FMC_EXTENDED_MODE_DISABLE;
  hsram1.Init.AsynchronousWait = FMC_ASYNCHRONOUS_WAIT_DISABLE;
  hsram1.Init.WriteBurst = FMC_WRITE_BURST_DISABLE;
  hsram1.Init.ContinuousClock = FMC_CONTINUOUS_CLOCK_SYNC_ONLY;
  hsram1.Init.WriteFifo = FMC_WRITE_FIFO_ENABLE;
  hsram1.Init.PageSize = FMC_PAGE_SIZE_NONE;
  /* Timing */
  Timing.AddressSetupTime = 9;
  Timing.AddressHoldTime = 15;
  Timing.DataSetupTime = 12;
  Timing.BusTurnAroundDuration = 15;
  Timing.CLKDivision = 16;
  Timing.DataLatency = 17;
  Timing.AccessMode = FMC_ACCESS_MODE_A;
  /* ExtTiming */

  if (HAL_SRAM_Init(&hsram1, &Timing, NULL) != HAL_OK)
  {
    Error_Handler( );
  }

}

static void MX_GPIO_Init(void)
{
  GPIO_InitTypeDef GPIO_InitStruct = {0};

  /* GPIO Ports Clock Enable */
  __HAL_RCC_GPIOE_CLK_ENABLE();
  __HAL_RCC_GPIOC_CLK_ENABLE();
  __HAL_RCC_GPIOF_CLK_ENABLE();
  __HAL_RCC_GPIOH_CLK_ENABLE();
  __HAL_RCC_GPIOA_CLK_ENABLE();
  __HAL_RCC_GPIOB_CLK_ENABLE();
  __HAL_RCC_GPIOD_CLK_ENABLE();
  __HAL_RCC_GPIOG_CLK_ENABLE();

  /*Configure GPIO pin Output Level */
  HAL_GPIO_WritePin(GPIOC, BG_Pin|CAMERA_PWR_DWN_Pin, GPIO_PIN_RESET);

  /*Configure GPIO pin Output Level */
  HAL_GPIO_WritePin(GPIOB, Green_LED_Pin|Red_LED_Pin|myLCD_DC_Pin|WIFI_RST_Pin
                          |WIFI_CS_Pin, GPIO_PIN_RESET);

  /*Configure GPIO pin Output Level */
  HAL_GPIO_WritePin(RST_GPIO_Port, RST_Pin, GPIO_PIN_RESET);

  /*Configure GPIO pin Output Level */
  HAL_GPIO_WritePin(CAMERA_RESET_GPIO_Port, CAMERA_RESET_Pin, GPIO_PIN_SET);

  /*Configure GPIO pin Output Level */
  HAL_GPIO_WritePin(Yellow_LED_GPIO_Port, Yellow_LED_Pin, GPIO_PIN_RESET);

  /*Configure GPIO pins : SWITCH1_Pin SWITCH2_Pin */
  GPIO_InitStruct.Pin = SWITCH1_Pin|SWITCH2_Pin;
  GPIO_InitStruct.Mode = GPIO_MODE_INPUT;
  GPIO_InitStruct.Pull = GPIO_PULLUP;
  HAL_GPIO_Init(GPIOE, &GPIO_InitStruct);

  /*Configure GPIO pin : B1_Pin */
  GPIO_InitStruct.Pin = B1_Pin;
  GPIO_InitStruct.Mode = GPIO_MODE_INPUT;
  GPIO_InitStruct.Pull = GPIO_NOPULL;
  HAL_GPIO_Init(B1_GPIO_Port, &GPIO_InitStruct);

  /*Configure GPIO pins : BG_Pin CAMERA_PWR_DWN_Pin CAMERA_RESET_Pin */
  GPIO_InitStruct.Pin = BG_Pin|CAMERA_PWR_DWN_Pin|CAMERA_RESET_Pin;
  GPIO_InitStruct.Mode = GPIO_MODE_OUTPUT_PP;
  GPIO_InitStruct.Pull = GPIO_NOPULL;
  GPIO_InitStruct.Speed = GPIO_SPEED_FREQ_LOW;
  HAL_GPIO_Init(GPIOC, &GPIO_InitStruct);

  /*Configure GPIO pins : Green_LED_Pin Red_LED_Pin myLCD_DC_Pin WIFI_CS_Pin */
  GPIO_InitStruct.Pin = Green_LED_Pin|Red_LED_Pin|myLCD_DC_Pin|WIFI_CS_Pin;
  GPIO_InitStruct.Mode = GPIO_MODE_OUTPUT_PP;
  GPIO_InitStruct.Pull = GPIO_NOPULL;
  GPIO_InitStruct.Speed = GPIO_SPEED_FREQ_LOW;
  HAL_GPIO_Init(GPIOB, &GPIO_InitStruct);

  /*Configure GPIO pin : RST_Pin */
  GPIO_InitStruct.Pin = RST_Pin;
  GPIO_InitStruct.Mode = GPIO_MODE_OUTPUT_PP;
  GPIO_InitStruct.Pull = GPIO_NOPULL;
  GPIO_InitStruct.Speed = GPIO_SPEED_FREQ_LOW;
  HAL_GPIO_Init(RST_GPIO_Port, &GPIO_InitStruct);

  /*Configure GPIO pin : PC9 */
  GPIO_InitStruct.Pin = GPIO_PIN_9;
  GPIO_InitStruct.Mode = GPIO_MODE_AF_PP;
  GPIO_InitStruct.Pull = GPIO_NOPULL;
  GPIO_InitStruct.Speed = GPIO_SPEED_FREQ_LOW;
  GPIO_InitStruct.Alternate = GPIO_AF0_MCO;
  HAL_GPIO_Init(GPIOC, &GPIO_InitStruct);

  /*Configure GPIO pin : WIFI_RST_Pin */
  GPIO_InitStruct.Pin = WIFI_RST_Pin;
  GPIO_InitStruct.Mode = GPIO_MODE_OUTPUT_PP;
  GPIO_InitStruct.Pull = GPIO_NOPULL;
  GPIO_InitStruct.Speed = GPIO_SPEED_FREQ_VERY_HIGH;
  HAL_GPIO_Init(WIFI_RST_GPIO_Port, &GPIO_InitStruct);

  /*Configure GPIO pin : Yellow_LED_Pin */
  GPIO_InitStruct.Pin = Yellow_LED_Pin;
  GPIO_InitStruct.Mode = GPIO_MODE_OUTPUT_PP;
  GPIO_InitStruct.Pull = GPIO_NOPULL;
  GPIO_InitStruct.Speed = GPIO_SPEED_FREQ_LOW;
  HAL_GPIO_Init(Yellow_LED_GPIO_Port, &GPIO_InitStruct);

}

/* USER CODE BEGIN 4 */
void grey_transmit(uint8_t *data){
	for(int i=1;i<320*240*2;i++){
			int16_t gray = (uint16_t) data[i++];
			HAL_UART_Transmit(&huart4, &gray, 1, 1000);

	}
}
static void onFrameCallback(){
	new_capture = 1;
}
void HAL_UART_RxCpltCallback(UART_HandleTypeDef *huart)
{
	if(huart==&huart1){
		 //HAL_UART_Transmit(&huart4, hot_buffer,7, 1000);
		strcpy(T,hot_buffer);
		T[8]='\0';
		HAL_UART_Receive_IT(huart, hot_buffer, 7);	//用此种发送方式在回调函数中，当发送的数据没有10位时，会让返回的数据不正�???????
	}else if(huart==&huart7){
		//HAL_UART_Transmit(&huart4, rdata, 1, 10);
		if(rdata[0]=='$')
			point=0;
		USART_RX_BUF[point++]=rdata[0];

		if(rdata[0]=='\n'){
			ifOneline=1;
			point=0;
		}
		HAL_UART_Receive_IT(huart, rdata, 1);	//用此种发送方式在回调函数中，当发送的数据没有10位时，会让返回的数据不正�???????
	}else if(huart==&huart2){
		//HAL_UART_Transmit(&huart4, wifi_rec, 1, 100);
		HAL_UART_Receive_IT(huart, wifi_rec, 1);
	}
//	HAL_UART_Transmit(&huart1, OT_UartBuffer, 10, 1000);
}
void GPS_Init()
{
	memset(GPSData.GPS_Buffer,0,GPS_Buf_Length);
	memset(GPSData.latitude,0,latitude_Length);
	memset(GPSData.longitude,0,longitude_Length);
	GPSData.isGetData=false;
	GPSData.isUseful=false;
}
void transfer(uint8_t *string)
{
	if(strstr(USART_RX_BUF,"GNRMC")==NULL)
		return;
	char str1[100],str2[100],str3[100];
	int i,count,j,t;
	count=0;
	for(i=0;string[i]!='\0';i++)
	{
		if(string[i]==',')
		{
			count++;
			if(count==2)
			{
				t=0;
				for(j=i+1;string[j]!=',';j++)
				{
					str1[t]=string[j];
					t++;
				}
				str1[t]='\0';
			}
			if(count==3)
			{
				t=0;
				for(j=i+1;string[j]!=',';j++)
				{
					str2[t]=string[j];
					t++;
				}
				str2[t]='\0';
			}
			if(count==5)
			{
				t=0;
				for(j=i+1;string[j]!=',';j++)
				{
					str3[t]=string[j];
					t++;
				}
				str3[t]='\0';
			}
		}
	}
	if(str1[0]=='A'){
		GPSData.isUseful=1;
		strcpy(GPSData.latitude,str2);
		strcpy(GPSData.longitude,str3);
		strcpy(latitude,str2);
		strcpy(longitude,str3);
	}else{
		GPSData.isUseful=0;
		strcpy(GPSData.latitude,latitude);
		strcpy(GPSData.longitude,longitude);
	};
	memcpy(GPSData.address,GPSData.latitude,latitude_Length);
	strcat(GPSData.address,",");
	strcat(GPSData.address,GPSData.longitude);
	//strcat(GPSData.address,"\n");
}
void parseGPS()
{
	char *subString;
	char *subNext;
	if(GPSData.isGetData){
		GPSData.isGetData=false;
		for(int i=0;i<9;i++){
			if((subString=strstr(GPSData.GPS_Buffer,","))!=NULL){
				subString++;
				if((subNext=strstr(subString,","))!=NULL){
					char usefullBuffer[2];
					switch(i)
					{
						case 1:memcpy(usefullBuffer,subString,subNext-subString);
						case 2:memcpy(GPSData.latitude,subString,subNext-subString); break;
						case 4:memcpy(GPSData.longitude,subString,subNext-subString); break;
						default:break;
					}
					subString=subNext;

					if(usefullBuffer[0]=='A')
						GPSData.isUseful=true;
					else if(usefullBuffer[0]=='V')
					{
						GPSData.isUseful=false;
					}
				}
			}
		}
	}
}

void printGPS()
{
	parseGPS();
	if(!GPSData.isUseful){
		memcpy(GPSData.latitude,latitude,sizeof(latitude));
		memcpy(GPSData.longitude,longitude,sizeof(longitude));
	}
	GPSData.isGetData=false;
}
//void get_t()
//{
//	do{
//	for(int i=0;i<5;i++){
//		T[i]=hot_buffer[i+1];
//	}
//	T[6]='\0';
//	}while(strstr(T,'}')!=NULL||strstr(T,'{')!=NULL);
//}
/* USER CODE END 4 */

/* MPU Configuration */

void MPU_Config(void)
{
  MPU_Region_InitTypeDef MPU_InitStruct = {0};

  /* Disables the MPU */
  HAL_MPU_Disable();
  /** Initializes and configures the Region and the memory to be protected
  */
  MPU_InitStruct.Enable = MPU_REGION_ENABLE;
  MPU_InitStruct.Number = MPU_REGION_NUMBER0;
  MPU_InitStruct.BaseAddress = 0x60000000;
  MPU_InitStruct.Size = MPU_REGION_SIZE_256MB;
  MPU_InitStruct.SubRegionDisable = 0x0;
  MPU_InitStruct.TypeExtField = MPU_TEX_LEVEL0;
  MPU_InitStruct.AccessPermission = MPU_REGION_FULL_ACCESS;
  MPU_InitStruct.DisableExec = MPU_INSTRUCTION_ACCESS_ENABLE;
  MPU_InitStruct.IsShareable = MPU_ACCESS_NOT_SHAREABLE;
  MPU_InitStruct.IsCacheable = MPU_ACCESS_NOT_CACHEABLE;
  MPU_InitStruct.IsBufferable = MPU_ACCESS_BUFFERABLE;

  HAL_MPU_ConfigRegion(&MPU_InitStruct);
  /* Enables the MPU */
  HAL_MPU_Enable(MPU_PRIVILEGED_DEFAULT);

}

void Error_Handler(void)
{
}

/************************ (C) COPYRIGHT STMicroelectronics *****END OF FILE****/
